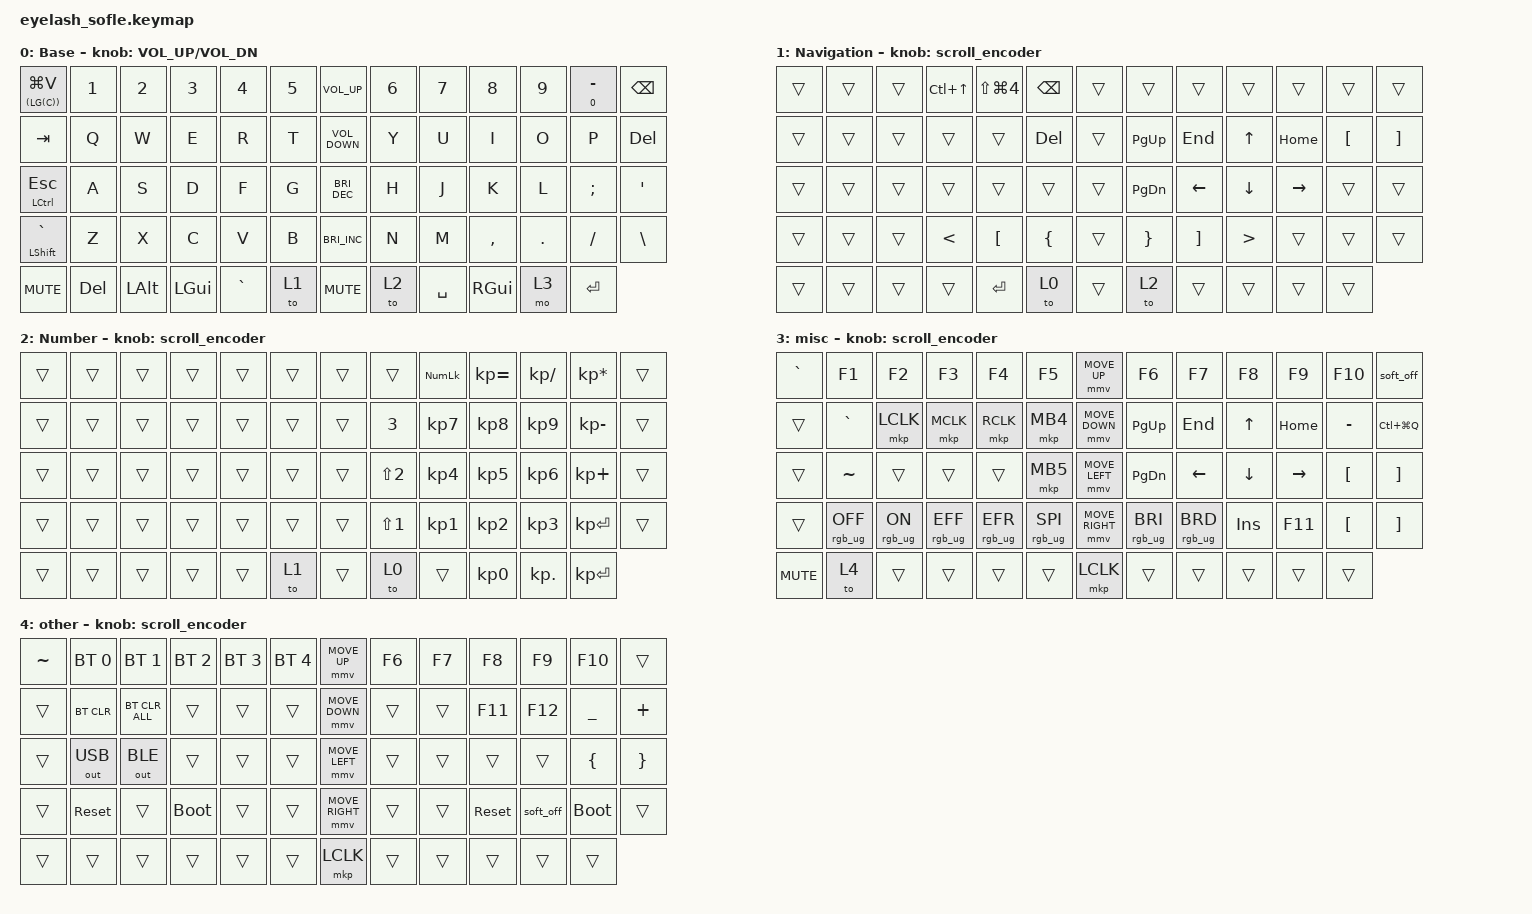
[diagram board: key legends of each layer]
#define ZMK_POINTING_DEFAULT_MOVE_VAL 1200  // 600
#define ZMK_POINTING_DEFAULT_SCRL_VAL 25   // 10

#include <input/processors.dtsi>
#include <zephyr/dt-bindings/input/input-event-codes.h>
#include <behaviors.dtsi>
#include <dt-bindings/zmk/bt.h>
#include <dt-bindings/zmk/keys.h>
#include <dt-bindings/zmk/outputs.h>
#include <dt-bindings/zmk/pointing.h>
#include <dt-bindings/zmk/rgb.h>

&mmv_input_listener { input-processors = <&zip_xy_scaler 2 1>; };

&msc_input_listener { input-processors = <&zip_scroll_scaler 2 1>; };

&msc {
    acceleration-exponent = <1>;      // 0
    time-to-max-speed-ms = <100>;       // 300
    delay-ms = <0>;                   // 0
};

&mmv {
    time-to-max-speed-ms = <500>;
    acceleration-exponent = <1>;
    trigger-period-ms = <16>;
};

&soft_off { hold-time-ms = <2000>; };

/ {
    scroll_encoder: scroll_encoder {
        compatible = "zmk,behavior-sensor-rotate";
        #sensor-binding-cells = <0>;
        bindings = <&msc SCRL_DOWN>, <&msc SCRL_UP>;

        tap-ms = <100>;
    };

    behaviors {
    };

    combos {
        compatible = "zmk,combos";

        softoff {
            bindings = <&soft_off>;
            key-positions = <14 28 40>;
        };
    };

    keymap {
        compatible = "zmk,keymap";

        Base {
            bindings = <
&mt (LG(C)) LG(V)        &kp N1      &kp N2        &kp N3        &kp N4     &kp N5    &kp C_VOLUME_UP       &kp N6  &kp N7     &kp N8         &kp N9   &mt N0 MINUS  &kp BACKSPACE
&kp TAB                  &kp Q       &kp W         &kp E         &kp R      &kp T     &kp C_VOLUME_DOWN     &kp Y   &kp U      &kp I          &kp O    &kp P         &kp DEL
&mt LEFT_CONTROL ESCAPE  &kp A       &kp S         &kp D         &kp F      &kp G     &kp C_BRIGHTNESS_DEC  &kp H   &kp J      &kp K          &kp L    &kp SEMI      &kp APOS
&mt LSHFT GRAVE          &kp Z       &kp X         &kp C         &kp V      &kp B     &kp C_BRIGHTNESS_INC  &kp N   &kp M      &kp COMMA      &kp DOT  &kp SLASH     &kp BACKSLASH
&kp C_MUTE               &kp DELETE  &kp LEFT_ALT  &kp LEFT_GUI  &kp GRAVE  &to 1     &kp C_MUTE            &to 2   &kp SPACE  &kp RIGHT_GUI  &mo 3    &kp ENTER
            >;

            sensor-bindings = <&inc_dec_kp C_VOLUME_UP C_VOL_DN>;
            display-name = "Base";
        };

        Nav {
            bindings = <
&trans  &trans  &trans  &kp LC(UP_ARROW)  &kp LS(LG(NUMBER_4))  &kp BACKSPACE     &trans  &trans           &trans             &trans            &trans           &trans            &trans
&trans  &trans  &trans  &trans            &trans                &kp DELETE        &trans  &kp PAGE_UP      &kp END            &kp UP_ARROW      &kp HOME         &kp LEFT_BRACKET  &kp RIGHT_BRACKET
&trans  &trans  &trans  &trans            &trans                &trans            &trans  &kp PAGE_DOWN    &kp LEFT_ARROW     &kp DOWN_ARROW    &kp RIGHT_ARROW  &trans            &trans
&trans  &trans  &trans  &kp LESS_THAN     &kp LEFT_BRACKET      &kp LEFT_BRACE    &trans  &kp RIGHT_BRACE  &kp RIGHT_BRACKET  &kp GREATER_THAN  &trans           &trans            &trans
&trans  &trans  &trans  &trans            &kp ENTER             &to 0             &trans  &to 2            &trans             &trans            &trans           &trans
            >;

            display-name = "Navigation";
            sensor-bindings = <&scroll_encoder>;
        };

        Number {
            bindings = <
&trans  &trans  &trans  &trans  &trans  &trans    &trans  &trans            &kp KP_NUM       &kp KP_EQUAL     &kp KP_DIVIDE    &kp KP_MULTIPLY  &trans
&trans  &trans  &trans  &trans  &trans  &trans    &trans  &kp NUMBER_3      &kp KP_NUMBER_7  &kp KP_NUMBER_8  &kp KP_NUMBER_9  &kp KP_MINUS     &trans
&trans  &trans  &trans  &trans  &trans  &trans    &trans  &kp LS(NUMBER_2)  &kp KP_NUMBER_4  &kp KP_NUMBER_5  &kp KP_NUMBER_6  &kp KP_PLUS      &trans
&trans  &trans  &trans  &trans  &trans  &trans    &trans  &kp LS(NUMBER_1)  &kp KP_NUMBER_1  &kp KP_NUMBER_2  &kp KP_NUMBER_3  &kp KP_ENTER     &trans
&trans  &trans  &trans  &trans  &trans  &to 1     &trans  &to 0             &trans           &kp KP_NUMBER_0  &kp KP_DOT       &kp KP_ENTER
            >;

            display-name = "Number";
            sensor-bindings = <&scroll_encoder>;
        };

        Misc {
            bindings = <
&kp GRAVE   &kp F1           &kp F2          &kp F3           &kp F4           &kp F5             &mmv MOVE_UP     &kp F6           &kp F7           &kp F8      &kp F9     &kp F10           &soft_off
&trans      &kp GRAVE        &mkp LCLK       &mkp MCLK        &mkp RCLK        &mkp MB4           &mmv MOVE_DOWN   &kp PG_UP        &kp END          &kp UP      &kp HOME   &kp MINUS         &kp LC(LG(Q))
&trans      &kp TILDE        &trans          &trans           &trans           &mkp MB5           &mmv MOVE_LEFT   &kp PG_DN        &kp LEFT         &kp DOWN    &kp RIGHT  &kp LEFT_BRACKET  &kp RIGHT_BRACKET
&trans      &rgb_ug RGB_OFF  &rgb_ug RGB_ON  &rgb_ug RGB_EFF  &rgb_ug RGB_EFR  &rgb_ug RGB_SPI    &mmv MOVE_RIGHT  &rgb_ug RGB_BRI  &rgb_ug RGB_BRD  &kp INSERT  &kp F11    &kp LEFT_BRACKET  &kp RIGHT_BRACKET
&kp C_MUTE  &to 4            &trans          &trans           &trans           &trans             &mkp LCLK        &trans           &trans           &trans      &trans     &trans
            >;

            display-name = "misc";
            sensor-bindings = <&scroll_encoder>;
        };

        Other {
            bindings = <
&kp TILDE  &bt BT_SEL 0  &bt BT_SEL 1    &bt BT_SEL 2  &bt BT_SEL 3  &bt BT_SEL 4    &mmv MOVE_UP     &kp F6  &kp F7  &kp F8      &kp F9     &kp F10      &trans
&trans     &bt BT_CLR    &bt BT_CLR_ALL  &trans        &trans        &trans          &mmv MOVE_DOWN   &trans  &trans  &kp F11     &kp F12    &kp UNDER    &kp PLUS
&trans     &out OUT_USB  &out OUT_BLE    &trans        &trans        &trans          &mmv MOVE_LEFT   &trans  &trans  &trans      &trans     &kp LBRC     &kp RBRC
&trans     &sys_reset    &trans          &bootloader   &trans        &trans          &mmv MOVE_RIGHT  &trans  &trans  &sys_reset  &soft_off  &bootloader  &trans
&trans     &trans        &trans          &trans        &trans        &trans          &mkp LCLK        &trans  &trans  &trans      &trans     &trans
            >;

            display-name = "other";
            sensor-bindings = <&scroll_encoder>;
        };
    };
};
